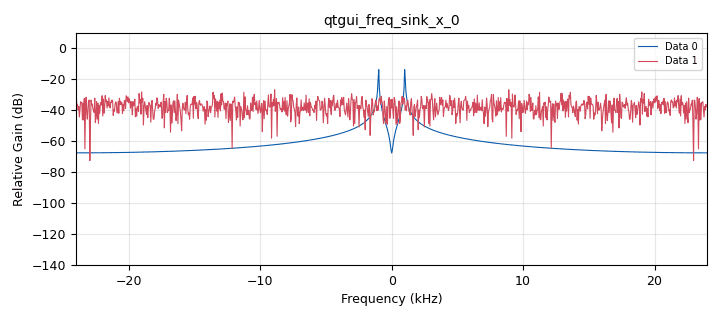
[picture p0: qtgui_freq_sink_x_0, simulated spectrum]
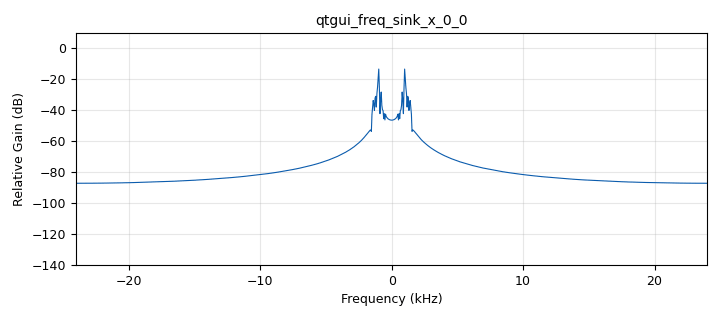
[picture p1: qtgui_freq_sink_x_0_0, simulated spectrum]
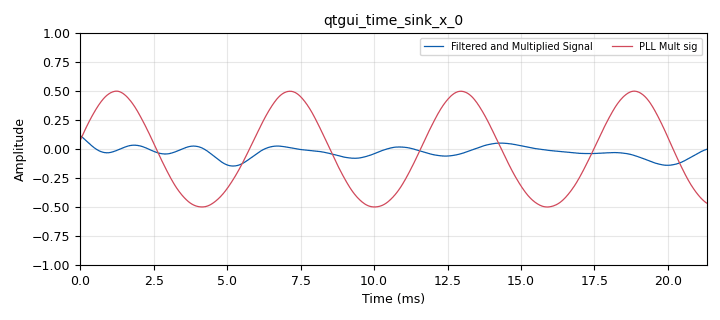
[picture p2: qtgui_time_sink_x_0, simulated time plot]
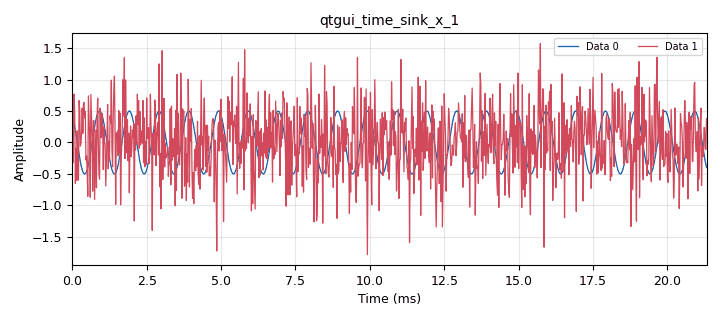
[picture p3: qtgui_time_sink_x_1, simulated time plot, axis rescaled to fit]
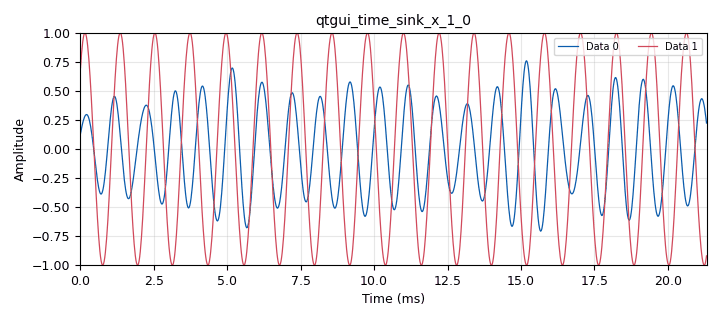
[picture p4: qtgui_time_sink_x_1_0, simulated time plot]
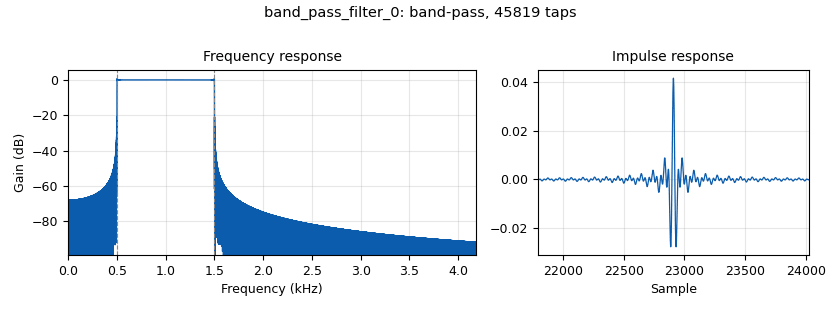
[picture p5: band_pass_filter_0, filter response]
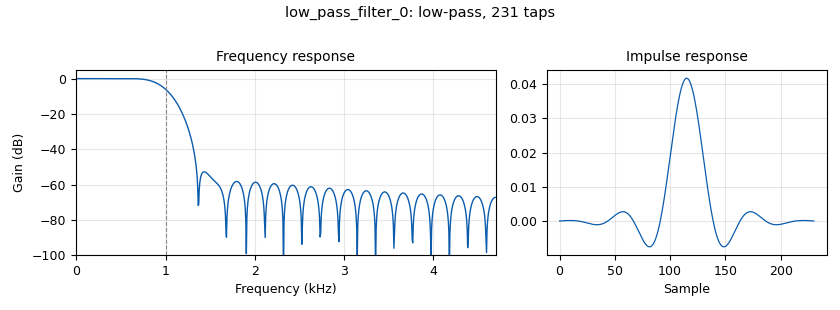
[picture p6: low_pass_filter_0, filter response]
<?xml version='1.0' encoding='utf-8'?>
<?grc format='1' created='3.7.11'?>
<flow_graph>
<block>
<key>options</key>
<param><key>id</key><value>top_block</value></param>
<param><key>generate_options</key><value>qt_gui</value></param>
</block>
<block>
<key>variable_qtgui_range</key>
<param><key>id</key><value>BP_BW</value></param>
<param><key>value</key><value>1000</value></param>
<param><key>orient</key><value>Qt.Horizontal</value></param>
<param><key>start</key><value>250</value></param>
<param><key>step</key><value>500</value></param>
<param><key>stop</key><value>5000</value></param>
</block>
<block>
<key>variable_qtgui_range</key>
<param><key>id</key><value>BP_center</value></param>
<param><key>value</key><value>1000</value></param>
<param><key>orient</key><value>Qt.Horizontal</value></param>
<param><key>start</key><value>500</value></param>
<param><key>step</key><value>500</value></param>
<param><key>stop</key><value>5000</value></param>
</block>
<block>
<key>variable_qtgui_range</key>
<param><key>id</key><value>freq</value></param>
<param><key>value</key><value>1000</value></param>
<param><key>orient</key><value>Qt.Horizontal</value></param>
<param><key>start</key><value>0</value></param>
<param><key>step</key><value>100</value></param>
<param><key>stop</key><value>24000</value></param>
</block>
<block>
<key>variable_qtgui_range</key>
<param><key>id</key><value>noise_amp</value></param>
<param><key>value</key><value>0.5</value></param>
<param><key>orient</key><value>Qt.Horizontal</value></param>
<param><key>start</key><value>0.01</value></param>
<param><key>step</key><value>0.01</value></param>
<param><key>stop</key><value>1</value></param>
</block>
<block>
<key>variable</key>
<param><key>id</key><value>samp_rate</value></param>
<param><key>value</key><value>48000</value></param>
</block>
<block>
<key>variable_qtgui_range</key>
<param><key>id</key><value>sig_amp</value></param>
<param><key>value</key><value>0.5</value></param>
<param><key>orient</key><value>Qt.Horizontal</value></param>
<param><key>start</key><value>0.1</value></param>
<param><key>step</key><value>0.01</value></param>
<param><key>stop</key><value>1</value></param>
</block>
<block>
<key>analog_noise_source_x</key>
<param><key>id</key><value>analog_noise_source_x_0</value></param>
<param><key>amp</key><value>noise_amp</value></param>
<param><key>noise_type</key><value>analog.GR_GAUSSIAN</value></param>
<param><key>type</key><value>float</value></param>
<param><key>seed</key><value>0</value></param>
</block>
<block>
<key>analog_pll_refout_cc</key>
<param><key>id</key><value>analog_pll_refout_cc_0</value></param>
<param><key>w</key><value>626e-6</value></param>
<param><key>max_freq</key><value>0.17</value></param>
<param><key>min_freq</key><value>0.10</value></param>
</block>
<block>
<key>analog_sig_source_x</key>
<param><key>id</key><value>analog_sig_source_x_0</value></param>
<param><key>amp</key><value>sig_amp</value></param>
<param><key>freq</key><value>freq</value></param>
<param><key>offset</key><value>0</value></param>
<param><key>type</key><value>float</value></param>
<param><key>samp_rate</key><value>samp_rate</value></param>
<param><key>waveform</key><value>analog.GR_SIN_WAVE</value></param>
</block>
<block>
<key>analog_sig_source_x</key>
<param><key>id</key><value>analog_sig_source_x_1</value></param>
<param><key>amp</key><value>1</value></param>
<param><key>freq</key><value>1000</value></param>
<param><key>offset</key><value>0</value></param>
<param><key>type</key><value>float</value></param>
<param><key>samp_rate</key><value>samp_rate</value></param>
<param><key>waveform</key><value>analog.GR_SIN_WAVE</value></param>
</block>
<block>
<key>band_pass_filter</key>
<param><key>id</key><value>band_pass_filter_0</value></param>
<param><key>decim</key><value>1</value></param>
<param><key>type</key><value>fir_filter_fff</value></param>
<param><key>gain</key><value>1</value></param>
<param><key>high_cutoff_freq</key><value>BP_BW+BP_center/2</value></param>
<param><key>low_cutoff_freq</key><value>BP_BW-BP_center/2</value></param>
<param><key>samp_rate</key><value>samp_rate</value></param>
<param><key>width</key><value>1</value></param>
<param><key>win</key><value>firdes.WIN_RECTANGULAR</value></param>
</block>
<block>
<key>blocks_add_xx</key>
<param><key>id</key><value>blocks_add_xx_0</value></param>
<param><key>type</key><value>float</value></param>
</block>
<block>
<key>blocks_complex_to_float</key>
<param><key>id</key><value>blocks_complex_to_float_0</value></param>
</block>
<block>
<key>blocks_float_to_complex</key>
<param><key>id</key><value>blocks_float_to_complex_0</value></param>
</block>
<block>
<key>blocks_multiply_xx</key>
<param><key>id</key><value>blocks_multiply_xx_0</value></param>
<param><key>type</key><value>float</value></param>
</block>
<block>
<key>blocks_multiply_xx</key>
<param><key>id</key><value>blocks_multiply_xx_0_0</value></param>
<param><key>type</key><value>float</value></param>
</block>
<block>
<key>low_pass_filter</key>
<param><key>id</key><value>low_pass_filter_0</value></param>
<param><key>cutoff_freq</key><value>1000</value></param>
<param><key>decim</key><value>1</value></param>
<param><key>type</key><value>fir_filter_fff</value></param>
<param><key>gain</key><value>1</value></param>
<param><key>samp_rate</key><value>samp_rate</value></param>
<param><key>width</key><value>500</value></param>
<param><key>win</key><value>firdes.WIN_HAMMING</value></param>
</block>
<block>
<key>low_pass_filter</key>
<param><key>id</key><value>low_pass_filter_0_0</value></param>
<param><key>cutoff_freq</key><value>1000</value></param>
<param><key>decim</key><value>1</value></param>
<param><key>type</key><value>fir_filter_fff</value></param>
<param><key>gain</key><value>1</value></param>
<param><key>samp_rate</key><value>samp_rate</value></param>
<param><key>width</key><value>500</value></param>
<param><key>win</key><value>firdes.WIN_HAMMING</value></param>
</block>
<block>
<key>qtgui_freq_sink_x</key>
<param><key>id</key><value>qtgui_freq_sink_x_0</value></param>
<param><key>bw</key><value>samp_rate</value></param>
<param><key>fc</key><value>0</value></param>
<param><key>fftsize</key><value>1024</value></param>
<param><key>gui_hint</key><value>0,0,1,1</value></param>
<param><key>label2</key><value></value></param>
<param><key>nconnections</key><value>2</value></param>
<param><key>showports</key><value>True</value></param>
<param><key>type</key><value>float</value></param>
<param><key>wintype</key><value>firdes.WIN_RECTANGULAR</value></param>
</block>
<block>
<key>qtgui_freq_sink_x</key>
<param><key>id</key><value>qtgui_freq_sink_x_0_0</value></param>
<param><key>bw</key><value>samp_rate</value></param>
<param><key>fc</key><value>0</value></param>
<param><key>fftsize</key><value>1024</value></param>
<param><key>gui_hint</key><value>1,0,1,1</value></param>
<param><key>showports</key><value>True</value></param>
<param><key>type</key><value>float</value></param>
<param><key>wintype</key><value>firdes.WIN_RECTANGULAR</value></param>
</block>
<block>
<key>qtgui_time_sink_x</key>
<param><key>id</key><value>qtgui_time_sink_x_0</value></param>
<param><key>gui_hint</key><value>2,0,2,2</value></param>
<param><key>color1</key><value>"blue"</value></param>
<param><key>label1</key><value>Filtered and Multiplied Signal</value></param>
<param><key>color2</key><value>"red"</value></param>
<param><key>label2</key><value>PLL Mult sig</value></param>
<param><key>name</key><value></value></param>
<param><key>nconnections</key><value>2</value></param>
<param><key>size</key><value>1024</value></param>
<param><key>srate</key><value>samp_rate</value></param>
<param><key>type</key><value>float</value></param>
</block>
<block>
<key>qtgui_time_sink_x</key>
<param><key>id</key><value>qtgui_time_sink_x_1</value></param>
<param><key>gui_hint</key><value>0,1,1,1</value></param>
<param><key>color1</key><value>"blue"</value></param>
<param><key>label1</key><value></value></param>
<param><key>color2</key><value>"red"</value></param>
<param><key>label2</key><value></value></param>
<param><key>name</key><value></value></param>
<param><key>nconnections</key><value>2</value></param>
<param><key>size</key><value>1024</value></param>
<param><key>srate</key><value>samp_rate</value></param>
<param><key>type</key><value>float</value></param>
</block>
<block>
<key>qtgui_time_sink_x</key>
<param><key>id</key><value>qtgui_time_sink_x_1_0</value></param>
<param><key>gui_hint</key><value>1,1,1,1</value></param>
<param><key>color1</key><value>"blue"</value></param>
<param><key>label1</key><value></value></param>
<param><key>color2</key><value>"red"</value></param>
<param><key>label2</key><value></value></param>
<param><key>name</key><value></value></param>
<param><key>nconnections</key><value>2</value></param>
<param><key>size</key><value>1024</value></param>
<param><key>srate</key><value>samp_rate</value></param>
<param><key>type</key><value>float</value></param>
</block>
<connection><source_block_id>analog_noise_source_x_0</source_block_id><sink_block_id>blocks_add_xx_0</sink_block_id><source_key>0</source_key><sink_key>1</sink_key></connection>
<connection><source_block_id>analog_noise_source_x_0</source_block_id><sink_block_id>qtgui_freq_sink_x_0</sink_block_id><source_key>0</source_key><sink_key>1</sink_key></connection>
<connection><source_block_id>analog_noise_source_x_0</source_block_id><sink_block_id>qtgui_time_sink_x_1</sink_block_id><source_key>0</source_key><sink_key>1</sink_key></connection>
<connection><source_block_id>analog_pll_refout_cc_0</source_block_id><sink_block_id>blocks_complex_to_float_0</sink_block_id><source_key>0</source_key><sink_key>0</sink_key></connection>
<connection><source_block_id>analog_sig_source_x_0</source_block_id><sink_block_id>blocks_add_xx_0</sink_block_id><source_key>0</source_key><sink_key>0</sink_key></connection>
<connection><source_block_id>analog_sig_source_x_0</source_block_id><sink_block_id>qtgui_freq_sink_x_0</sink_block_id><source_key>0</source_key><sink_key>0</sink_key></connection>
<connection><source_block_id>analog_sig_source_x_0</source_block_id><sink_block_id>qtgui_time_sink_x_1</sink_block_id><source_key>0</source_key><sink_key>0</sink_key></connection>
<connection><source_block_id>analog_sig_source_x_1</source_block_id><sink_block_id>blocks_multiply_xx_0</sink_block_id><source_key>0</source_key><sink_key>1</sink_key></connection>
<connection><source_block_id>analog_sig_source_x_1</source_block_id><sink_block_id>blocks_multiply_xx_0_0</sink_block_id><source_key>0</source_key><sink_key>1</sink_key></connection>
<connection><source_block_id>band_pass_filter_0</source_block_id><sink_block_id>blocks_float_to_complex_0</sink_block_id><source_key>0</source_key><sink_key>0</sink_key></connection>
<connection><source_block_id>band_pass_filter_0</source_block_id><sink_block_id>blocks_multiply_xx_0_0</sink_block_id><source_key>0</source_key><sink_key>0</sink_key></connection>
<connection><source_block_id>band_pass_filter_0</source_block_id><sink_block_id>qtgui_freq_sink_x_0_0</sink_block_id><source_key>0</source_key><sink_key>0</sink_key></connection>
<connection><source_block_id>band_pass_filter_0</source_block_id><sink_block_id>qtgui_time_sink_x_1_0</sink_block_id><source_key>0</source_key><sink_key>0</sink_key></connection>
<connection><source_block_id>blocks_add_xx_0</source_block_id><sink_block_id>band_pass_filter_0</sink_block_id><source_key>0</source_key><sink_key>0</sink_key></connection>
<connection><source_block_id>blocks_complex_to_float_0</source_block_id><sink_block_id>blocks_multiply_xx_0</sink_block_id><source_key>0</source_key><sink_key>0</sink_key></connection>
<connection><source_block_id>blocks_complex_to_float_0</source_block_id><sink_block_id>qtgui_time_sink_x_1_0</sink_block_id><source_key>0</source_key><sink_key>1</sink_key></connection>
<connection><source_block_id>blocks_float_to_complex_0</source_block_id><sink_block_id>analog_pll_refout_cc_0</sink_block_id><source_key>0</source_key><sink_key>0</sink_key></connection>
<connection><source_block_id>blocks_multiply_xx_0</source_block_id><sink_block_id>low_pass_filter_0</sink_block_id><source_key>0</source_key><sink_key>0</sink_key></connection>
<connection><source_block_id>blocks_multiply_xx_0_0</source_block_id><sink_block_id>low_pass_filter_0_0</sink_block_id><source_key>0</source_key><sink_key>0</sink_key></connection>
<connection><source_block_id>low_pass_filter_0</source_block_id><sink_block_id>qtgui_time_sink_x_0</sink_block_id><source_key>0</source_key><sink_key>1</sink_key></connection>
<connection><source_block_id>low_pass_filter_0_0</source_block_id><sink_block_id>qtgui_time_sink_x_0</sink_block_id><source_key>0</source_key><sink_key>0</sink_key></connection>
</flow_graph>
